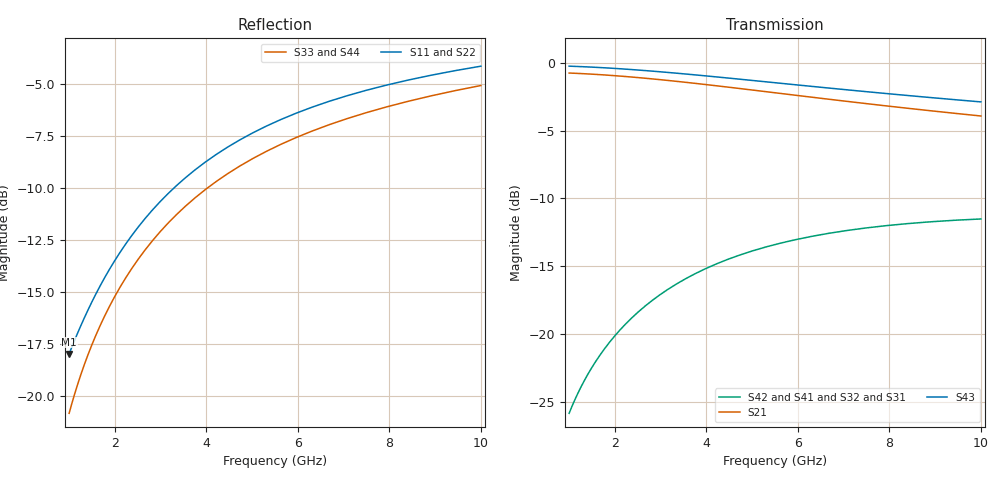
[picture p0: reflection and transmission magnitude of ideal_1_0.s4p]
! Synthetic ideal circuit; generated by generate_synthetic.py
# Hz S RI R 50
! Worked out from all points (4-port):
!   41 points, 1 GHz to 10 GHz, reference 50 ohm
!   strongest paths, dB at 1 GHz, 1.778 GHz, 3.162 GHz, 5.623 GHz, 10 GHz:
!     S43: -0.2, -0.4, -0.7, -1.5, -2.9
!     S21: -0.7, -0.9, -1.3, -2.2, -3.9
!     S42: -25.9, -21.1, -16.7, -13.3, -11.5
!     S41: -25.9, -21.1, -16.7, -13.3, -11.5
!     S32: -25.9, -21.1, -16.7, -13.3, -11.5
!     S31: -25.9, -21.1, -16.7, -13.3, -11.5
!   lowest |S11| = -18.0 dB at 1 GHz (marker M1), VSWR 1.29, Z = 58.4 + j10.8 ohm
!   |S11| at or under -10 dB: start of sweep to 3.299 GHz
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1e9  0.0867 0.0914  0.9133 -0.0989  0.00994 0.05  -0.00994 -0.05
     0.9133 -0.0989  0.0867 0.0914  -0.00994 -0.05  0.00994 0.05
     0.00994 0.05  -0.00994 -0.05  0.0306 0.0853  0.9693 -0.0928
     -0.00994 -0.05  0.00994 0.05  0.9693 -0.0928  0.0306 0.0853
1.496236e9  0.1017 0.1335  0.8983 -0.1448  0.0216 0.072  -0.0216 -0.072
            0.8983 -0.1448  0.1017 0.1335  -0.0216 -0.072  0.0216 0.072
            0.0216 0.072  -0.0216 -0.072  0.0437 0.1249  0.9563 -0.1362
            -0.0216 -0.072  0.0216 0.072  0.9563 -0.1362  0.0437 0.1249
2.113489e9  0.1268 0.1811  0.8731 -0.197  0.041 0.095  -0.041 -0.095
            0.8731 -0.197  0.1268 0.1811  -0.041 -0.095  0.041 0.095
            0.041 0.095  -0.041 -0.095  0.0657 0.17  0.9342 -0.186
            -0.041 -0.095  0.041 0.095  0.9342 -0.186  0.0657 0.17
2.985383e9  0.1711 0.2371  0.8287 -0.2596  0.0744 0.118  -0.0744 -0.118
            0.8287 -0.2596  0.1711 0.2371  -0.0744 -0.118  0.0744 0.118
            0.0744 0.118  -0.0744 -0.118  0.1046 0.2243  0.8952 -0.2468
            -0.0744 -0.118  0.0744 0.118  0.8952 -0.2468  0.1046 0.2243
3.981072e9  0.2281 0.2845  0.7715 -0.3145  0.1157 0.1301  -0.1157 -0.1301
            0.7715 -0.3145  0.2281 0.2845  -0.1157 -0.1301  0.1157 0.1301
            0.1157 0.1301  -0.1157 -0.1301  0.1551 0.272  0.8444 -0.302
            -0.1157 -0.1301  0.1157 0.1301  0.8444 -0.302  0.1551 0.272
6.309573e9  0.3588 0.3393  0.64 -0.3869  0.1994 0.1133  -0.1994 -0.1133
            0.64 -0.3869  0.3588 0.3393  -0.1994 -0.1133  0.1994 0.1133
            0.1994 0.1133  -0.1994 -0.1133  0.2737 0.3351  0.7252 -0.3826
            -0.1994 -0.1133  0.1994 0.1133  0.7252 -0.3826  0.2737 0.3351
1e10  0.5161 0.3433  0.481 -0.4185  0.2636 0.034  -0.2636 -0.034
      0.481 -0.4185  0.5161 0.3433  -0.2636 -0.034  0.2636 0.034
      0.2636 0.034  -0.2636 -0.034  0.4251 0.3598  0.5721 -0.4351
      -0.2636 -0.034  0.2636 0.034  0.5721 -0.4351  0.4251 0.3598
